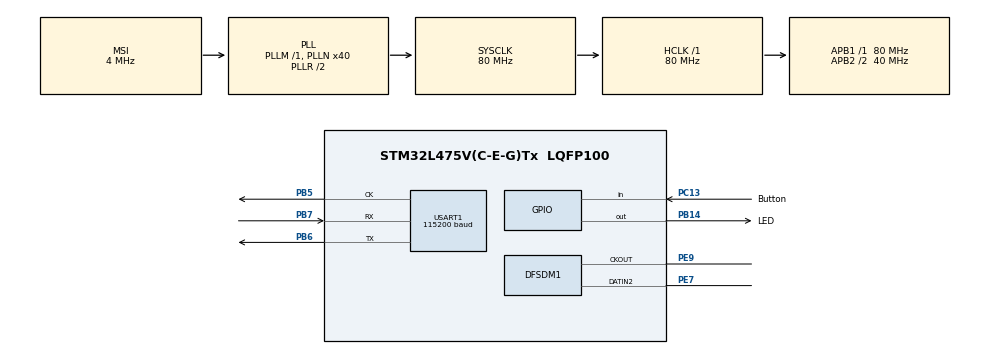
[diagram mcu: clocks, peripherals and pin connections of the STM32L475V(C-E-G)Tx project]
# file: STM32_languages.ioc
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DFSDM1.Divider=38
DFSDM1.DmaMode_reg_FIL0=ENABLE
DFSDM1.FastMode_reg_FIL0=ENABLE
DFSDM1.Filter_injChannel2_FIL0=__NULL
DFSDM1.Filter_regChannel_FIL0=DFSDM_CHANNEL_2
DFSDM1.Fosr_FIL0=32
DFSDM1.Iosr_FIL0=4
DFSDM1.RightBitShift_CH2=0x00
DFSDM1.Selection=DFSDM_CHANNEL_OUTPUT_CLOCK_SYSTEM
DFSDM1.SincOrder_FIL0=DFSDM_FILTER_SINC3_ORDER
DFSDM1.SpiClock_internal_CH2=DFSDM_CHANNEL_SPI_CLOCK_INTERNAL
Dma.DFSDM1_FLT0.0.Direction=DMA_PERIPH_TO_MEMORY
Dma.DFSDM1_FLT0.0.Instance=DMA1_Channel4
Dma.DFSDM1_FLT0.0.MemDataAlignment=DMA_MDATAALIGN_WORD
Dma.DFSDM1_FLT0.0.MemInc=DMA_MINC_ENABLE
Dma.DFSDM1_FLT0.0.Mode=DMA_CIRCULAR
Dma.DFSDM1_FLT0.0.PeriphDataAlignment=DMA_PDATAALIGN_WORD
Dma.DFSDM1_FLT0.0.PeriphInc=DMA_PINC_DISABLE
Dma.DFSDM1_FLT0.0.Priority=DMA_PRIORITY_MEDIUM
Dma.Request0=DFSDM1_FLT0
Mcu.Family=STM32L4
Mcu.Name=STM32L475V(C-E-G)Tx
Mcu.Package=LQFP100
NVIC.DFSDM1_FLT0_IRQn=true\:0\:0\:false\:false\:true\:true\:true
NVIC.DMA1_Channel4_IRQn=true\:0\:0\:false\:false\:true\:false\:true
NVIC.PriorityGroup=NVIC_PRIORITYGROUP_4
PA13\ (JTMS-SWDIO).Mode=Trace_Asynchronous_SW
PA13\ (JTMS-SWDIO).Signal=SYS_JTMS-SWDIO
PA14\ (JTCK-SWCLK).Mode=Trace_Asynchronous_SW
PA14\ (JTCK-SWCLK).Signal=SYS_JTCK-SWCLK
PB14.GPIO_Label=LED
PB14.GPIO_PuPd=GPIO_PULLUP
PB14.Signal=GPIO_Output
PB3\ (JTDO-TRACESWO).Mode=Trace_Asynchronous_SW
PB3\ (JTDO-TRACESWO).Signal=SYS_JTDO-SWO
PB5.Mode=Synchronous
PB5.Signal=USART1_CK
PB6.Mode=Synchronous
PB6.Signal=USART1_TX
PB7.Mode=Synchronous
PB7.Signal=USART1_RX
PC13.GPIO_Label=Button
PC13.GPIO_PuPd=GPIO_PULLUP
PC13.Signal=GPIO_Input
PE7.Signal=S_DATAIN2DFSDM1
PE9.Signal=S_CKOUTDFSDM1
ProjectManager.HeapSize=0x1800
ProjectManager.StackSize=0x3000
ProjectManager.TargetToolchain=STM32CubeIDE
RCC.ADCFreq_Value=32000000
RCC.AHBFreq_Value=80000000
RCC.APB1Freq_Value=80000000
RCC.APB1TimFreq_Value=80000000
RCC.APB2CLKDivider=RCC_HCLK_DIV2
RCC.APB2Freq_Value=40000000
RCC.APB2TimFreq_Value=80000000
RCC.CortexFreq_Value=80000000
RCC.HCLKFreq_Value=80000000
RCC.HSE_VALUE=8000000
RCC.HSI_VALUE=16000000
RCC.LSE_VALUE=32768
RCC.MSI_VALUE=4000000
RCC.PLLN=40
RCC.PLLSAI1N=16
RCC.SYSCLKFreq_VALUE=80000000
RCC.SYSCLKSource=RCC_SYSCLKSOURCE_PLLCLK
RCC.USART1CLockSelection=RCC_USART1CLKSOURCE_SYSCLK
RCC.USBFreq_Value=32000000
RCC.VCOOutputFreq_Value=160000000
SH.S_CKOUTDFSDM1.0=DFSDM1_CKOUT,CKOUT
SH.S_CKOUTDFSDM1.1=DFSDM1_CKOUT,PDM_SPI_input_from_ch2_and_internal_clock
SH.S_DATAIN2DFSDM1.0=DFSDM1_DATIN2,PDM_SPI_input_from_ch2_and_internal_clock
STMicroelectronics.X-CUBE-AI.7.1.0.ActivationBufferSizeList=51395
STMicroelectronics.X-CUBE-AI.7.1.0.ActivationBuffers=pool0
STMicroelectronics.X-CUBE-AI.7.1.0.ActivationNames=pool0
STMicroelectronics.X-CUBE-AI.7.1.0.ActivationSizes=AI_LANGUAGE_CLASSIFICATION_DATA_ACTIVATION_1_SIZE
STMicroelectronics.X-CUBE-AI.7.1.0.ApplicationCcDeviceJjApplication=ApplicationTemplate
STMicroelectronics.X-CUBE-AI.7.1.0.HeapSize=0x1800
STMicroelectronics.X-CUBE-AI.7.1.0.InternalRamActivationBufferMaxSize=AI_LANGUAGE_CLASSIFICATION_DATA_ACTIVATIONS_SIZE
STMicroelectronics.X-CUBE-AI.7.1.0.LatestDirectoryUsed-1e42bdc43644a88dee2123b302743dae88dae4279d427144379bd68afe0f78fe=C\:\\Users\\fphal\\Desktop\\ML4UC
STMicroelectronics.X-CUBE-AI.7.1.0.MaximumNumberOfInputLayer=1
STMicroelectronics.X-CUBE-AI.7.1.0.MaximumNumberOfOutputLayer=1
STMicroelectronics.X-CUBE-AI.7.1.0.MaximumSizeOfInputLayer=AI_LANGUAGE_CLASSIFICATION_IN_1_SIZE_BYTES
STMicroelectronics.X-CUBE-AI.7.1.0.MaximumSizeOfOutputLayer=AI_LANGUAGE_CLASSIFICATION_OUT_1_SIZE_BYTES
STMicroelectronics.X-CUBE-AI.7.1.0.ModelActualCompression-1e42bdc43644a88dee2123b302743dae88dae4279d427144379bd68afe0f78fe=0.0
STMicroelectronics.X-CUBE-AI.7.1.0.ModelCompression-1e42bdc43644a88dee2123b302743dae88dae4279d427144379bd68afe0f78fe=1
STMicroelectronics.X-CUBE-AI.7.1.0.ModelFlashOccupation-1e42bdc43644a88dee2123b302743dae88dae4279d427144379bd68afe0f78fe=709736
STMicroelectronics.X-CUBE-AI.7.1.0.ModelHashList=1e42bdc43644a88dee2123b302743dae88dae4279d427144379bd68afe0f78fe
STMicroelectronics.X-CUBE-AI.7.1.0.ModelKind-1e42bdc43644a88dee2123b302743dae88dae4279d427144379bd68afe0f78fe=TFLITE
STMicroelectronics.X-CUBE-AI.7.1.0.ModelMacc-1e42bdc43644a88dee2123b302743dae88dae4279d427144379bd68afe0f78fe=76888188
STMicroelectronics.X-CUBE-AI.7.1.0.ModelName-1e42bdc43644a88dee2123b302743dae88dae4279d427144379bd68afe0f78fe=language_classification
STMicroelectronics.X-CUBE-AI.7.1.0.ModelNameList=language_classification
STMicroelectronics.X-CUBE-AI.7.1.0.ModelRamOccupation-1e42bdc43644a88dee2123b302743dae88dae4279d427144379bd68afe0f78fe=51395
STMicroelectronics.X-CUBE-AI.7.1.0.ModelStructureFile-1e42bdc43644a88dee2123b302743dae88dae4279d427144379bd68afe0f78fe=C\:\\Users\\fphal\\Desktop\\ML4UC\\model_cnn.tflite
STMicroelectronics.X-CUBE-AI.7.1.0.ModelType-1e42bdc43644a88dee2123b302743dae88dae4279d427144379bd68afe0f78fe=STM32Cube.AI runtime
STMicroelectronics.X-CUBE-AI.7.1.0.ReadyForCodeGeneration=true
STMicroelectronics.X-CUBE-AI.7.1.0.StackSize=0x3000
STMicroelectronics.X-CUBE-AI.7.1.0.ValidationInputFileHistory-1e42bdc43644a88dee2123b302743dae88dae4279d427144379bd68afe0f78fe=C\:\\Users\\fphal\\Desktop\\ML4UC\\model test data\\csv\\en_4.csv,C\:\\Users\\fphal\\Desktop\\ML4UC\\model test data\\csv\\de_0.csv,C\:\\Users\\fphal\\Desktop\\ML4UC\\model test data\\csv\\en_3.csv,C\:\\Users\\fphal\\Desktop\\ML4UC\\model test data\\csv\\es_1.csv,C\:\\Users\\fphal\\Desktop\\ML4UC\\model test data\\csv\\de_9.csv,C\:\\Users\\fphal\\Desktop\\ML4UC\\model test data\\x_test\\x_test_1.csv,C\:\\Users\\fphal\\Desktop\\ML4UC\\model test data\\x_test\\x_test_4.csv,C\:\\Users\\fphal\\Desktop\\ML4UC\\model test data\\x_test\\x_test_5.csv,C\:\\Users\\fphal\\Desktop\\ML4UC\\model test data\\x_test\\x_test_0.csv,C\:\\Users\\fphal\\Desktop\\ML4UC\\model test data\\x_test\\x_test_1.csv,C\:\\Users\\fphal\\Desktop\\ML4UC\\model test data\\x_test\\x_test_2.csv,C\:\\Users\\fphal\\Desktop\\ML4UC\\model test data\\x_test\\x_test_3.csv
STMicroelectronics.X-CUBE-AI.7.1.0.ValidationOutputFile-1e42bdc43644a88dee2123b302743dae88dae4279d427144379bd68afe0f78fe=C\:\\Users\\fphal\\Desktop\\ML4UC\\model test data\\y\\y_test_3.csv
STMicroelectronics.X-CUBE-AI.7.1.0.ValidationOutputFileHistory-1e42bdc43644a88dee2123b302743dae88dae4279d427144379bd68afe0f78fe=C\:\\Users\\fphal\\Desktop\\ML4UC\\model test data\\y\\y_test_1.csv,C\:\\Users\\fphal\\Desktop\\ML4UC\\model test data\\y\\y_test_4.csv,C\:\\Users\\fphal\\Desktop\\ML4UC\\model test data\\y\\y_test_5.csv,C\:\\Users\\fphal\\Desktop\\ML4UC\\model test data\\y\\y_test_0.csv,C\:\\Users\\fphal\\Desktop\\ML4UC\\model test data\\y\\y_test_2.csv,C\:\\Users\\fphal\\Desktop\\ML4UC\\model test data\\y\\y_test_3.csv
STMicroelectronics.X-CUBE-AI.7.1.0.WorkingBufferStartAddrList=0xFFFFFFFF
STMicroelectronics.X-CUBE-AI.7.1.0.XAaCUBEAaAICcArtificialOoIntelligenceJjCore=true
USART1.BaudRate=115200
USART1.VirtualMode-Synchronous=VM_SYNC
VP_CRC_VS_CRC.Mode=CRC_Activate
VP_STMicroelectronics.X-CUBE-AI_VS_ArtificialOoIntelligenceJjXAaCUBEAaAI_7.1.0.Mode=ArtificialOoIntelligenceJjXAaCUBEAaAI
VP_STMicroelectronics.X-CUBE-AI_VS_DeviceJjApplication_7.1.0.Mode=DeviceJjApplication
board=B-L475E-IOT01A

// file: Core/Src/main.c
/* USER CODE BEGIN Header */
/**
 ******************************************************************************
 * @file           : main.c
 * @brief          : Main program body
 ******************************************************************************
 * @attention
 *
 * <h2><center>&copy; Copyright (c) 2019 STMicroelectronics.
 * All rights reserved.</center></h2>
 *
 * This software component is licensed by ST under BSD 3-Clause license,
 * the "License"; You may not use this file except in compliance with the
 * License. You may obtain a copy of the License at:
 *                        opensource.org/licenses/BSD-3-Clause
 *
 ******************************************************************************
 */
/* USER CODE END Header */
#include "main.h"
#include "app_x-cube-ai.h"

/* USER CODE BEGIN PM */
#define MIN(a,b) (((a)<(b))?(a):(b))
#define MAX(a,b) (((a)>(b))?(a):(b))
/* USER CODE END PM */

CRC_HandleTypeDef hcrc;

DFSDM_Filter_HandleTypeDef hdfsdm1_filter0;
DFSDM_Channel_HandleTypeDef hdfsdm1_channel2;
DMA_HandleTypeDef hdma_dfsdm1_flt0;

USART_HandleTypeDef husart1;

void SystemClock_Config(void);
static void MX_GPIO_Init(void);
static void MX_DMA_Init(void);
static void MX_DFSDM1_Init(void);
static void MX_USART1_Init(void);
static void MX_CRC_Init(void);

/* USER CODE BEGIN 0 */

volatile bool firstHalfFull = false;
volatile bool secondHalfFull = false;

int32_t RecBuff[FFT_LENGTH];
q15_t MfccData[FFT_LENGTH];
q31_t TempBuffer[2 * FFT_LENGTH];
q15_t Mfcc[NB_MFCC * NB_DCT_OUTPUTS];
arm_mfcc_instance_q15 mfcc_config;

#ifdef __GNUC__
/* With GCC/RAISONANCE, small msg_info (option LD Linker->Libraries->Small msg_info
 set to 'Yes') calls __io_putchar() */
#define PUTCHAR_PROTOTYPE int __io_putchar(int ch)
#define GETCHAR_PROTOTYPE int __io_getchar(void)
#else
#define PUTCHAR_PROTOTYPE int fputc(int ch, FILE *f)
#define GETCHAR_PROTOTYPE int fgetc(FILE *f)
#endif /* __GNUC__ */

PUTCHAR_PROTOTYPE {
	/* Place your implementation of fputc here */
	/* e.g. write a character to the serial port and Loop until the end of transmission */
	while (HAL_OK != HAL_USART_Transmit(&husart1, (uint8_t*) &ch, 1, 30000)) {
		;
	}
	return ch;
}

/**
 * @brief Retargets the C library scanf function to the USART.
 * @param None
 * @retval None
 */
GETCHAR_PROTOTYPE {
	/* Place your implementation of fgetc here */
	/* e.g. readwrite a character to the USART2 and Loop until the end of transmission */
	uint8_t ch = 0;
	while (HAL_OK != HAL_USART_Receive(&husart1, (uint8_t*) &ch, 1, 30000)) {
		;
	}
	return ch;
}

void HAL_DFSDM_FilterRegConvCpltCallback(
		DFSDM_Filter_HandleTypeDef *hdfsdm_filter) {
	secondHalfFull = true;
}

void HAL_DFSDM_FilterRegConvHalfCpltCallback(
		DFSDM_Filter_HandleTypeDef *hdfsdm_filter) {
	firstHalfFull = true;
}

/* USER CODE END 0 */

int main(void)
{
  /* USER CODE BEGIN 1 */
	arm_mfcc_init_q15(&mfcc_config, FFT_LENGTH, NB_MFCC_NB_FILTER_Q15,
	NB_DCT_OUTPUTS, mfcc_dct_coefs, mfcc_filter_pos, mfcc_filter_len,
			mfcc_filter_coefs, mfcc_window_coefs);
	//q15_t pSrc[];
  /* USER CODE END 1 */

  /* MCU Configuration--------------------------------------------------------*/

  /* Reset of all peripherals, Initializes the Flash interface and the Systick. */
  HAL_Init();

  /* Configure the system clock */
  SystemClock_Config();

  /* Initialize all configured peripherals */
  MX_GPIO_Init();
  MX_DMA_Init();
  MX_DFSDM1_Init();
  MX_USART1_Init();
  MX_CRC_Init();
  MX_X_CUBE_AI_Init();
  /* USER CODE BEGIN 2 */
	if (HAL_OK != HAL_DFSDM_FilterRegularStart_DMA(&hdfsdm1_filter0, RecBuff, FFT_LENGTH)) {
		Error_Handler();
	}
  /* USER CODE END 2 */

  /* Infinite loop */
	while (1) {

  MX_X_CUBE_AI_Process();
    /* USER CODE BEGIN 3 */
		//MFCC Calc
		/*firstHalfFull = false;
		 secondHalfFull = false;
		 uint16_t cur_nb_mfcc = 0;
		 while (cur_nb_mfcc < NB_MFCC) {
		 if (firstHalfFull) {
		 for (int i = 0; i < FFT_LENGTH; i++) {
		 MfccData[i] = (q15_t) (RecBuff[i] >> 8);
		 }
		 arm_mfcc_q15(&mfcc_config, MfccData,
		 &Mfcc[cur_nb_mfcc * NB_DCT_OUTPUTS], TempBuffer);
		 cur_nb_mfcc++;
		 firstHalfFull = false;
		 }
		 if (secondHalfFull) {
		 for (int i = FFT_LENGTH; i < 2 * FFT_LENGTH; i++) {
		 MfccData[i - FFT_LENGTH] = (q15_t) (RecBuff[i] >> 8);
		 }
		 arm_mfcc_q15(&mfcc_config, MfccData,
		 &Mfcc[cur_nb_mfcc * NB_DCT_OUTPUTS], TempBuffer);
		 cur_nb_mfcc++;
		 secondHalfFull = false;
		 }
		 }*/
		// NN
		//MX_X_CUBE_AI_Process();
		HAL_Delay(1000);

	}
  /* USER CODE END 3 */
}

void SystemClock_Config(void)
{
  RCC_OscInitTypeDef RCC_OscInitStruct = {0};
  RCC_ClkInitTypeDef RCC_ClkInitStruct = {0};

  /** Configure the main internal regulator output voltage
  */
  if (HAL_PWREx_ControlVoltageScaling(PWR_REGULATOR_VOLTAGE_SCALE1) != HAL_OK)
  {
    Error_Handler();
  }
  /** Initializes the RCC Oscillators according to the specified parameters
  * in the RCC_OscInitTypeDef structure.
  */
  RCC_OscInitStruct.OscillatorType = RCC_OSCILLATORTYPE_MSI;
  RCC_OscInitStruct.MSIState = RCC_MSI_ON;
  RCC_OscInitStruct.MSICalibrationValue = 0;
  RCC_OscInitStruct.MSIClockRange = RCC_MSIRANGE_6;
  RCC_OscInitStruct.PLL.PLLState = RCC_PLL_ON;
  RCC_OscInitStruct.PLL.PLLSource = RCC_PLLSOURCE_MSI;
  RCC_OscInitStruct.PLL.PLLM = 1;
  RCC_OscInitStruct.PLL.PLLN = 40;
  RCC_OscInitStruct.PLL.PLLP = RCC_PLLP_DIV7;
  RCC_OscInitStruct.PLL.PLLQ = RCC_PLLQ_DIV2;
  RCC_OscInitStruct.PLL.PLLR = RCC_PLLR_DIV2;
  if (HAL_RCC_OscConfig(&RCC_OscInitStruct) != HAL_OK)
  {
    Error_Handler();
  }
  /** Initializes the CPU, AHB and APB buses clocks
  */
  RCC_ClkInitStruct.ClockType = RCC_CLOCKTYPE_HCLK|RCC_CLOCKTYPE_SYSCLK
                              |RCC_CLOCKTYPE_PCLK1|RCC_CLOCKTYPE_PCLK2;
  RCC_ClkInitStruct.SYSCLKSource = RCC_SYSCLKSOURCE_PLLCLK;
  RCC_ClkInitStruct.AHBCLKDivider = RCC_SYSCLK_DIV1;
  RCC_ClkInitStruct.APB1CLKDivider = RCC_HCLK_DIV1;
  RCC_ClkInitStruct.APB2CLKDivider = RCC_HCLK_DIV2;

  if (HAL_RCC_ClockConfig(&RCC_ClkInitStruct, FLASH_LATENCY_4) != HAL_OK)
  {
    Error_Handler();
  }
}

static void MX_CRC_Init(void)
{

  hcrc.Instance = CRC;
  hcrc.Init.DefaultPolynomialUse = DEFAULT_POLYNOMIAL_ENABLE;
  hcrc.Init.DefaultInitValueUse = DEFAULT_INIT_VALUE_ENABLE;
  hcrc.Init.InputDataInversionMode = CRC_INPUTDATA_INVERSION_NONE;
  hcrc.Init.OutputDataInversionMode = CRC_OUTPUTDATA_INVERSION_DISABLE;
  hcrc.InputDataFormat = CRC_INPUTDATA_FORMAT_BYTES;
  if (HAL_CRC_Init(&hcrc) != HAL_OK)
  {
    Error_Handler();
  }

}

static void MX_DFSDM1_Init(void)
{

  hdfsdm1_filter0.Instance = DFSDM1_Filter0;
  hdfsdm1_filter0.Init.RegularParam.Trigger = DFSDM_FILTER_SW_TRIGGER;
  hdfsdm1_filter0.Init.RegularParam.FastMode = ENABLE;
  hdfsdm1_filter0.Init.RegularParam.DmaMode = ENABLE;
  hdfsdm1_filter0.Init.FilterParam.SincOrder = DFSDM_FILTER_SINC3_ORDER;
  hdfsdm1_filter0.Init.FilterParam.Oversampling = 32;
  hdfsdm1_filter0.Init.FilterParam.IntOversampling = 4;
  if (HAL_DFSDM_FilterInit(&hdfsdm1_filter0) != HAL_OK)
  {
    Error_Handler();
  }
  hdfsdm1_channel2.Instance = DFSDM1_Channel2;
  hdfsdm1_channel2.Init.OutputClock.Activation = ENABLE;
  hdfsdm1_channel2.Init.OutputClock.Selection = DFSDM_CHANNEL_OUTPUT_CLOCK_SYSTEM;
  hdfsdm1_channel2.Init.OutputClock.Divider = 38;
  hdfsdm1_channel2.Init.Input.Multiplexer = DFSDM_CHANNEL_EXTERNAL_INPUTS;
  hdfsdm1_channel2.Init.Input.DataPacking = DFSDM_CHANNEL_STANDARD_MODE;
  hdfsdm1_channel2.Init.Input.Pins = DFSDM_CHANNEL_SAME_CHANNEL_PINS;
  hdfsdm1_channel2.Init.SerialInterface.Type = DFSDM_CHANNEL_SPI_RISING;
  hdfsdm1_channel2.Init.SerialInterface.SpiClock = DFSDM_CHANNEL_SPI_CLOCK_INTERNAL;
  hdfsdm1_channel2.Init.Awd.FilterOrder = DFSDM_CHANNEL_FASTSINC_ORDER;
  hdfsdm1_channel2.Init.Awd.Oversampling = 1;
  hdfsdm1_channel2.Init.Offset = 0;
  hdfsdm1_channel2.Init.RightBitShift = 0x00;
  if (HAL_DFSDM_ChannelInit(&hdfsdm1_channel2) != HAL_OK)
  {
    Error_Handler();
  }
  if (HAL_DFSDM_FilterConfigRegChannel(&hdfsdm1_filter0, DFSDM_CHANNEL_2, DFSDM_CONTINUOUS_CONV_ON) != HAL_OK)
  {
    Error_Handler();
  }

}

static void MX_USART1_Init(void)
{

  husart1.Instance = USART1;
  husart1.Init.BaudRate = 115200;
  husart1.Init.WordLength = USART_WORDLENGTH_8B;
  husart1.Init.StopBits = USART_STOPBITS_1;
  husart1.Init.Parity = USART_PARITY_NONE;
  husart1.Init.Mode = USART_MODE_TX_RX;
  husart1.Init.CLKPolarity = USART_POLARITY_LOW;
  husart1.Init.CLKPhase = USART_PHASE_1EDGE;
  husart1.Init.CLKLastBit = USART_LASTBIT_DISABLE;
  if (HAL_USART_Init(&husart1) != HAL_OK)
  {
    Error_Handler();
  }

}

static void MX_DMA_Init(void)
{

  /* DMA controller clock enable */
  __HAL_RCC_DMA1_CLK_ENABLE();

  /* DMA interrupt init */
  /* DMA1_Channel4_IRQn interrupt configuration */
  HAL_NVIC_SetPriority(DMA1_Channel4_IRQn, 0, 0);
  HAL_NVIC_EnableIRQ(DMA1_Channel4_IRQn);

}

static void MX_GPIO_Init(void)
{
  GPIO_InitTypeDef GPIO_InitStruct = {0};

  /* GPIO Ports Clock Enable */
  __HAL_RCC_GPIOC_CLK_ENABLE();
  __HAL_RCC_GPIOE_CLK_ENABLE();
  __HAL_RCC_GPIOB_CLK_ENABLE();
  __HAL_RCC_GPIOA_CLK_ENABLE();

  /*Configure GPIO pin Output Level */
  HAL_GPIO_WritePin(LED_GPIO_Port, LED_Pin, GPIO_PIN_RESET);

  /*Configure GPIO pin : Button_Pin */
  GPIO_InitStruct.Pin = Button_Pin;
  GPIO_InitStruct.Mode = GPIO_MODE_INPUT;
  GPIO_InitStruct.Pull = GPIO_PULLUP;
  HAL_GPIO_Init(Button_GPIO_Port, &GPIO_InitStruct);

  /*Configure GPIO pin : LED_Pin */
  GPIO_InitStruct.Pin = LED_Pin;
  GPIO_InitStruct.Mode = GPIO_MODE_OUTPUT_PP;
  GPIO_InitStruct.Pull = GPIO_PULLUP;
  GPIO_InitStruct.Speed = GPIO_SPEED_FREQ_LOW;
  HAL_GPIO_Init(LED_GPIO_Port, &GPIO_InitStruct);

}

/* USER CODE BEGIN 4 */
void set_data_ai_in(int8_t* input) {
	//MFCC Calc
	HAL_GPIO_WritePin(LED_GPIO_Port, LED_Pin, GPIO_PIN_RESET);
	while(HAL_GPIO_ReadPin(Button_GPIO_Port, Button_Pin) != GPIO_PIN_RESET);
	firstHalfFull = false;
	secondHalfFull = false;
	int16_t cur_nb_mfcc = -1;
	q15_t buffer[FFT_LENGTH/2];
	int32_t gain_numerator = 1000;
	int32_t gain_denominator = 1000;
	uint8_t led_count = 0;
	while (cur_nb_mfcc < NB_MFCC) {
		if (firstHalfFull) {
			for (uint16_t i = 0; i < FFT_LENGTH / 2; i++) {
				MfccData[i] = buffer[i];
			}
			for (uint16_t i = 0; i < FFT_LENGTH / 2; i++) {
				MfccData[i + FFT_LENGTH / 2] = (q15_t) ((RecBuff[i] >> 8)/**gain_numerator/gain_denominator
						- (int32_t) (((int32_t) MfccData[i - 1 + FFT_LENGTH / 2])
								* FILTER_CONST / 100)*/);
				buffer[i] = MfccData[i + FFT_LENGTH / 2];
				//gain_numerator += (TARGET_AMPLITUDE-abs(MfccData[i + FFT_LENGTH / 2]))/GAIN_DIVIDER;
			}
			firstHalfFull = false;
			if(cur_nb_mfcc==-1){
				cur_nb_mfcc++;
				continue;
			}
			arm_mfcc_q15(&mfcc_config, MfccData, &Mfcc[cur_nb_mfcc * NB_DCT_OUTPUTS], TempBuffer);
			cur_nb_mfcc++;
		}
		if (secondHalfFull) {
			for (uint16_t i = 0; i < FFT_LENGTH / 2; i++) {
				MfccData[i] = buffer[i];
			}
			for (uint16_t i = 0; i < FFT_LENGTH / 2; i++) {
				MfccData[i + FFT_LENGTH / 2] = (q15_t) ((RecBuff[i+ FFT_LENGTH / 2] >> 8)/**gain_numerator/gain_denominator
						- (int32_t) (((int32_t) MfccData[i - 1 + FFT_LENGTH / 2])
								* FILTER_CONST / 100)*/);
				buffer[i] = MfccData[i + FFT_LENGTH / 2];
				//gain_numerator += (TARGET_AMPLITUDE-abs(MfccData[i + FFT_LENGTH / 2]))/GAIN_DIVIDER;
			}
			secondHalfFull = false;
			if(cur_nb_mfcc==-1){
				cur_nb_mfcc++;
				continue;
			}
			arm_mfcc_q15(&mfcc_config, MfccData, &Mfcc[cur_nb_mfcc * NB_DCT_OUTPUTS], TempBuffer);
			cur_nb_mfcc++;

			if(led_count++%8==0){
				HAL_GPIO_TogglePin(LED_GPIO_Port, LED_Pin);
			}
		}
	}
	int32_t max_value = INT32_MIN;
	int32_t min_value = INT32_MAX;
	for (uint16_t i = 0; i < NB_DCT_OUTPUTS * NB_MFCC; i++) {
		max_value = MAX(Mfcc[i], max_value);
		min_value = MIN(Mfcc[i], min_value);
	}

	/*for (uint16_t i = 0; i < NB_DCT_OUTPUTS * NB_MFCC; i++) {
		input[(i%NB_DCT_OUTPUTS)*NB_MFCC + i/NB_DCT_OUTPUTS] = (int8_t) ((UINT8_MAX*(int32_t)Mfcc[i]-127*min_value-128*max_value)/(max_value-min_value));
	}*/
	for (uint16_t i = 0; i < NB_DCT_OUTPUTS * NB_MFCC; i++) {
		input[i] = (int8_t) ((UINT8_MAX*(int32_t)Mfcc[i]-127*min_value-128*max_value)/(max_value-min_value));
	}
	HAL_GPIO_WritePin(LED_GPIO_Port, LED_Pin, GPIO_PIN_SET);
}

void get_data_ai_out(int8_t *data) {
	char str[30];
	uint16_t length;
	/*if(data[0] > data[1] && data[0] > data[2]){
		length = sprintf(str, "German: %f%%", data[0]);
		HAL_USART_Transmit(&husart1, (uint8_t*)str, length, 30000);
		length = sprintf(str, " (English: %f%%, ", data[1]);
		HAL_USART_Transmit(&husart1, (uint8_t*)str, length, 30000);
		length = sprintf(str, "Spanish: %f%%)\n", data[2]);
		HAL_USART_Transmit(&husart1, (uint8_t*)str, length, 30000);
	}
	else if(data[1] > data[2]){
		length = sprintf(str, "English: %f%%", data[1]);
		HAL_USART_Transmit(&husart1, (uint8_t*)str, length, 30000);
		length = sprintf(str, " (German: %f%%, ", data[0]);
		HAL_USART_Transmit(&husart1, (uint8_t*)str, length, 30000);
		length = sprintf(str, "Spanish: %f%%)\n", data[2]);
		HAL_USART_Transmit(&husart1, (uint8_t*)str, length, 30000);
	}
	else{
		length = sprintf(str, "Spanish: %f%%", data[2]);
		HAL_USART_Transmit(&husart1, (uint8_t*)str, length, 30000);
		length = sprintf(str, " (German: %f%%, ", data[0]);
		HAL_USART_Transmit(&husart1, (uint8_t*)str, length, 30000);
		length = sprintf(str, "English: %f%%)\n", data[1]);
		HAL_USART_Transmit(&husart1, (uint8_t*)str, length, 30000);
	}*/
	if(data[0] > data[1] && data[0] > data[2]){
		length = sprintf(str, "German: %f%%", ((float)data[0]+128)/2.55);
		HAL_USART_Transmit(&husart1, (uint8_t*)str, length, 30000);
		length = sprintf(str, " (English: %f%%, ", ((float)data[1]+128)/2.55);
		HAL_USART_Transmit(&husart1, (uint8_t*)str, length, 30000);
		length = sprintf(str, "Spanish: %f%%)\n", ((float)data[2]+128)/2.55);
		HAL_USART_Transmit(&husart1, (uint8_t*)str, length, 30000);
	}
	else if(data[1] > data[2]){
		length = sprintf(str, "English: %f%%", ((float)data[1]+128)/2.55);
		HAL_USART_Transmit(&husart1, (uint8_t*)str, length, 30000);
		length = sprintf(str, " (German: %f%%, ", ((float)data[0]+128)/2.55);
		HAL_USART_Transmit(&husart1, (uint8_t*)str, length, 30000);
		length = sprintf(str, "Spanish: %f%%)\n", ((float)data[2]+128)/2.55);
		HAL_USART_Transmit(&husart1, (uint8_t*)str, length, 30000);
	}
	else{
		length = sprintf(str, "Spanish: %f%%", ((float)data[2]+128)/2.55);
		HAL_USART_Transmit(&husart1, (uint8_t*)str, length, 30000);
		length = sprintf(str, " (German: %f%%, ", ((float)data[0]+128)/2.55);
		HAL_USART_Transmit(&husart1, (uint8_t*)str, length, 30000);
		length = sprintf(str, "English: %f%%)\n", ((float)data[1]+128)/2.55);
		HAL_USART_Transmit(&husart1, (uint8_t*)str, length, 30000);
	}
}

/* USER CODE END 4 */

void Error_Handler(void)
{
}
